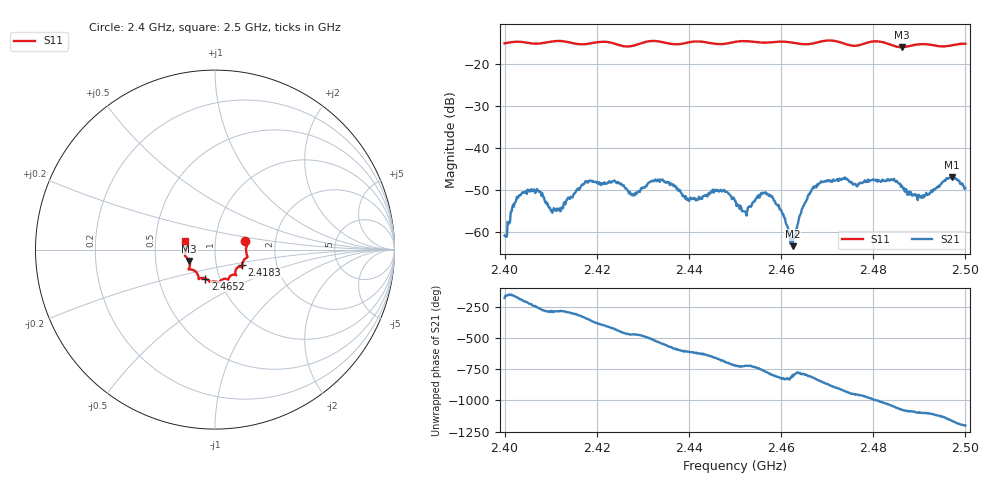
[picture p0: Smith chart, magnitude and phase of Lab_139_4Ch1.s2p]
# Hz S RI R 50
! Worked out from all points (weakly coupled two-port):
!   601 points, 2.4 GHz to 2.5 GHz, reference 50 ohm
!   highest |S21| = -46.96 dB at 2.497 GHz (marker M1); lowest = -63.4 dB at 2.4625 GHz (marker M2)
!   lowest |S11| = -16.1 dB at 2.4862 GHz (marker M3), VSWR 1.37, Z = 37.2 - j4.87 ohm
!   |S11| at or under -10 dB: start of sweep to end of sweep
!   S12 and S22 are empty: the file has one direction only
!   S11 on the Smith chart (normalised r, x): 2.4 GHz: 1.40, +0.13; 2.4183 GHz: 1.33, -0.24; 2.4652 GHz: 0.85, -0.28; 2.5 GHz: 0.71, +0.07
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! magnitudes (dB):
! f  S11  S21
! 2.4 GHz  -15.2  -60.9
! 2.4018 GHz  -14.9  -53.5
! 2.4037 GHz  -14.8  -50.9
! 2.4073 GHz  -15.2  -50.3
! 2.4117 GHz  -14.6  -54.7
! 2.4167 GHz  -15.4  -49.0
! 2.4183 GHz  -15.2  -47.9
! 2.4278 GHz  -15.8  -51.3
! 2.4333 GHz  -14.7  -47.7
! 2.4397 GHz  -15.0  -52.4
! 2.4472 GHz  -15.4  -50.4
! 2.45 GHz  -14.8  -52.7
! 2.4522 GHz  -14.6  -55.2
! 2.4575 GHz  -15.0  -51.2
! 2.4625 GHz  -15.0  -63.4
! 2.4652 GHz  -15.4  -53.1
! 2.4667 GHz  -15.3  -49.9
! 2.4833 GHz  -15.3  -47.5
! 2.4862 GHz  -16.1  -49.0
! 2.4907 GHz  -15.4  -51.9
! 2.497 GHz  -15.7  -47.0
! 2.5 GHz  -15.3  -49.6
